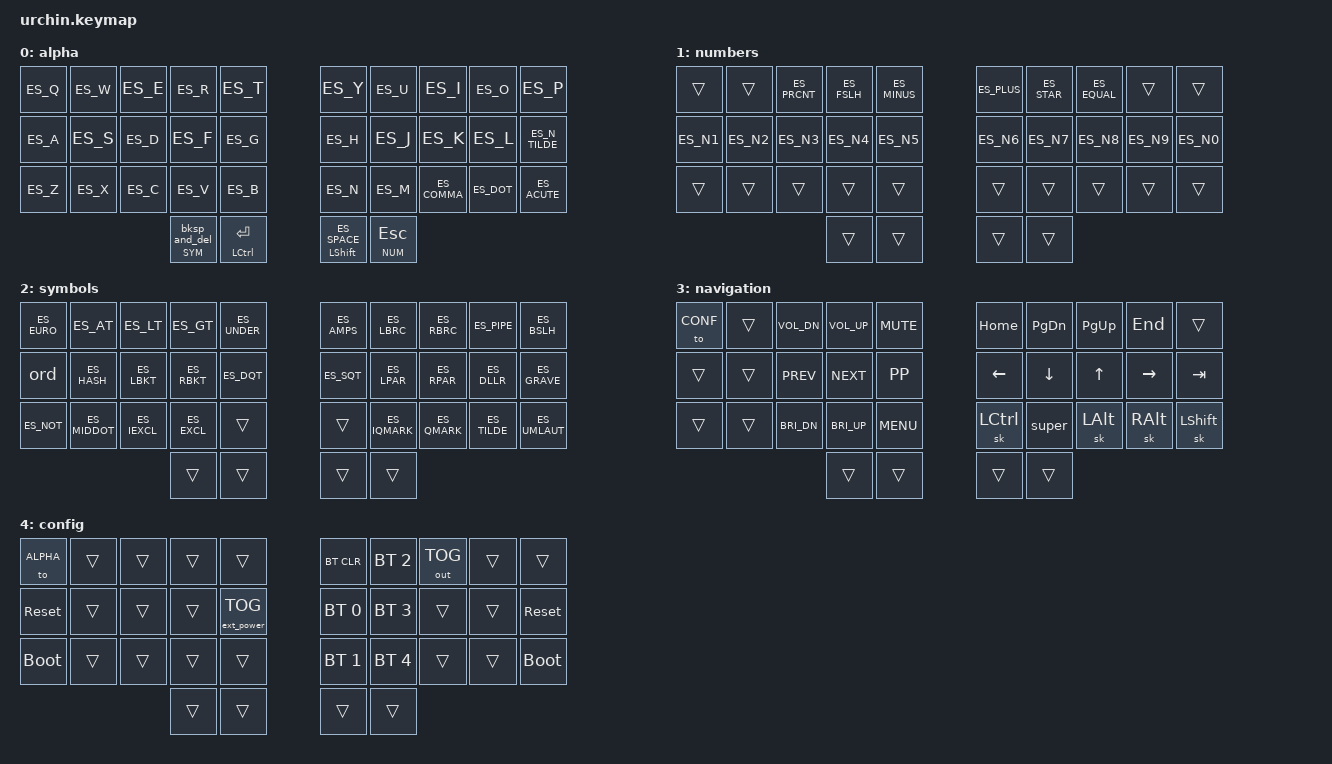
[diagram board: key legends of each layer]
/*
 * Copyright (c) 2020 duckyb
 * SPDX-License-Identifier: MIT
 */

#include "keys_es.h"
#include <behaviors.dtsi>
#include <dt-bindings/zmk/keys.h>
#include <dt-bindings/zmk/outputs.h>
#include <dt-bindings/zmk/bt.h>
#include <dt-bindings/zmk/ext_power.h>

#define ALPHA 0
#define NUM 1
#define SYM 2
#define NAV 3
#define CONF 4

&sk {
  lazy;
};

&lt {
  flavor = "hold-preferred";
};

/ {

    behaviors {
          c_and_ced: c_and_cedilla {
              compatible = "zmk,behavior-mod-morph";
              label = "C_AND_CEDILLA";
              bindings = <&kp ES_C>, <&kp ES_C_CEDILLA>;

              #binding-cells = <0>;
              mods = <(MOD_LSFT|MOD_RSFT)>;
          };

          bksp_and_del: bksp_and_del {
              compatible = "zmk,behavior-mod-morph";
              label = "BKSP_AND_DEL";
              bindings = <&kp BACKSPACE>, <&kp DELETE>;

              #binding-cells = <0>;
              mods = <(MOD_LSFT|MOD_RSFT)>;
          };

          ord: ordinal {
              compatible = "zmk,behavior-mod-morph";
              label = "ORD";
              bindings = <&kp ES_ORDM>, <&kp ES_ORDF>;

              #binding-cells = <0>;
              mods = <(MOD_LSFT|MOD_RSFT)>;
          };

          x_cut: x_cut {
              compatible = "zmk,behavior-mod-morph";
              label = "X_CUT";
              bindings = <&kp ES_X>, <&kp C_AC_CUT>;

              #binding-cells = <0>;
              mods = <(MOD_LCTL|MOD_RCTL)>;
          };

          c_copy: c_copy {
              compatible = "zmk,behavior-mod-morph";
              label = "C_COPY";
              bindings = <&kp ES_C>, <&kp C_AC_COPY>;

              #binding-cells = <0>;
              mods = <(MOD_LCTL|MOD_RCTL)>;
          };

          v_paste: v_paste {
              compatible = "zmk,behavior-mod-morph";
              label = "V_PASTE";
              bindings = <&kp ES_V>, <&kp C_AC_PASTE>;

              #binding-cells = <0>;
              mods = <(MOD_LCTL|MOD_RCTL)>;
          };

          lay_2: layer_2_key {
              compatible = "zmk,behavior-hold-tap";
              label = "LAYER_2_KEY";
              bindings = <&mo>, <&bksp_and_del>;

              #binding-cells = <2>;
              tapping-term-ms = <200>;
          };

          sm: sticky_mod {
              compatible = "zmk,behavior-hold-tap";
              label = "STICKY_MOD";
              bindings = <&sk>, <&kp>;

              #binding-cells = <2>;
              tapping-term-ms = <200>;
          };

          super: super {
              compatible = "zmk,behavior-mod-morph";
              label = "SUPER";
              bindings = <&sk LGUI>, <&kp LGUI>;

              #binding-cells = <0>;
              mods = <(MOD_LGUI)>;
          }
    };

    macros {
    };

    conditional_layers {
      compatible = "zmk,conditional-layers";
      nav_layer {
        if-layers = <1 2>;
        then-layer = <3>;
      };
    };

    keymap {
        compatible = "zmk,keymap";

        alpha {
            bindings = <
    &kp ES_Q    &kp ES_W    &kp ES_E    &kp ES_R    &kp ES_T    &kp ES_Y    &kp ES_U    &kp ES_I        &kp ES_O      &kp ES_P
    &kp ES_A    &kp ES_S    &kp ES_D    &kp ES_F    &kp ES_G    &kp ES_H    &kp ES_J    &kp ES_K        &kp ES_L      &kp ES_N_TILDE
    &kp ES_Z    &kp ES_X    &kp ES_C    &kp ES_V    &kp ES_B    &kp ES_N    &kp ES_M    &kp ES_COMMA    &kp ES_DOT    &kp ES_ACUTE
                                        &lay_2 SYM 0    &mt LCTRL RET    &mt LSHIFT ES_SPACE    &lt NUM ESC
            >;
        };

        numbers {
            bindings = <
    &trans       &trans       &kp ES_PRCNT    &kp ES_FSLH    &kp ES_MINUS    &kp ES_PLUS    &kp ES_STAR    &kp ES_EQUAL    &trans       &trans
    &kp ES_N1    &kp ES_N2    &kp ES_N3       &kp ES_N4      &kp ES_N5       &kp ES_N6      &kp ES_N7      &kp ES_N8       &kp ES_N9    &kp ES_N0
    &trans       &trans       &trans          &trans         &trans          &trans         &trans         &trans          &trans       &trans
                                              &trans         &trans          &trans         &trans
            >;
        };

        symbols {
            bindings = <
    &kp ES_EURO    &kp ES_AT        &kp ES_LT       &kp ES_GT      &kp ES_UNDER    &kp ES_AMPS    &kp ES_LBRC      &kp ES_RBRC     &kp ES_PIPE     &kp ES_BSLH
    &ord           &kp ES_HASH      &kp ES_LBKT     &kp ES_RBKT    &kp ES_DQT      &kp ES_SQT     &kp ES_LPAR      &kp ES_RPAR     &kp ES_DLLR     &kp ES_GRAVE
    &kp ES_NOT     &kp ES_MIDDOT    &kp ES_IEXCL    &kp ES_EXCL    &trans          &trans         &kp ES_IQMARK    &kp ES_QMARK    &kp ES_TILDE    &kp ES_UMLAUT
                                                    &trans         &trans          &trans          &trans
            >;
        };

        navigation {
            bindings = <
    &to CONF    &trans    &kp K_VOL_DN    &kp K_VOL_UP    &kp K_MUTE    &kp HOME     &kp PG_DN    &kp PG_UP    &kp END      &trans
    &trans      &trans    &kp K_PREV      &kp K_NEXT      &kp K_PP      &kp LEFT     &kp DOWN     &kp UP       &kp RIGHT    &kp TAB
    &trans      &trans    &kp C_BRI_DN    &kp C_BRI_UP    &kp C_MENU    &sk LCTRL    &super       &sk LALT     &sk RALT     &sk LSHIFT
                                          &trans          &trans        &trans      &trans
            >;
        };

        config {
            bindings = <
    &to ALPHA      &trans    &trans    &trans    &trans               &bt BT_CLR      &bt BT_SEL 2    &out OUT_TOG    &trans    &trans
    &sys_reset     &trans    &trans    &trans    &ext_power EP_TOG    &bt BT_SEL 0    &bt BT_SEL 3    &trans          &trans    &sys_reset
    &bootloader    &trans    &trans    &trans    &trans               &bt BT_SEL 1    &bt BT_SEL 4    &trans          &trans    &bootloader
                                       &trans    &trans               &trans          &trans
            >;
        };
    };
};
